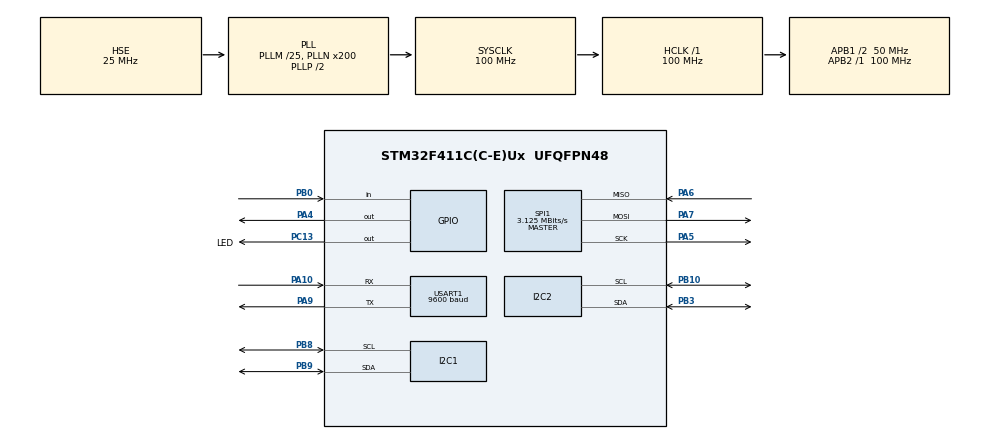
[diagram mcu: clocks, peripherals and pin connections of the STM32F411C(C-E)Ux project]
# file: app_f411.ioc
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Mcu.Family=STM32F4
Mcu.Name=STM32F411C(C-E)Ux
Mcu.Package=UFQFPN48
NVIC.PriorityGroup=NVIC_PRIORITYGROUP_4
NVIC.USART1_IRQn=true\:0\:0\:false\:false\:true\:true\:true\:true
PA10.Mode=Asynchronous
PA10.Signal=USART1_RX
PA13.Mode=Serial_Wire
PA13.Signal=SYS_JTMS-SWDIO
PA14.Mode=Serial_Wire
PA14.Signal=SYS_JTCK-SWCLK
PA4.PinState=GPIO_PIN_SET
PA4.Signal=GPIO_Output
PA5.Mode=Full_Duplex_Master
PA5.Signal=SPI1_SCK
PA6.Mode=Full_Duplex_Master
PA6.Signal=SPI1_MISO
PA7.Mode=Full_Duplex_Master
PA7.Signal=SPI1_MOSI
PA9.Mode=Asynchronous
PA9.Signal=USART1_TX
PB0.GPIO_PuPd=GPIO_PULLUP
PB0.Signal=GPIO_Input
PB10.Mode=I2C
PB10.Signal=I2C2_SCL
PB3.Mode=I2C
PB3.Signal=I2C2_SDA
PB8.Mode=I2C
PB8.Signal=I2C1_SCL
PB9.Mode=I2C
PB9.Signal=I2C1_SDA
PC13-ANTI_TAMP.GPIO_Label=LED
PC13-ANTI_TAMP.PinState=GPIO_PIN_SET
PC13-ANTI_TAMP.Signal=GPIO_Output
PH0\ -\ OSC_IN.Mode=HSE-External-Oscillator
PH0\ -\ OSC_IN.Signal=RCC_OSC_IN
PH1\ -\ OSC_OUT.Mode=HSE-External-Oscillator
PH1\ -\ OSC_OUT.Signal=RCC_OSC_OUT
ProjectManager.HeapSize=0x200
ProjectManager.StackSize=0x400
ProjectManager.TargetToolchain=MDK-ARM V5
RCC.48MHZClocksFreq_Value=50000000
RCC.AHBFreq_Value=100000000
RCC.APB1CLKDivider=RCC_HCLK_DIV2
RCC.APB1Freq_Value=50000000
RCC.APB1TimFreq_Value=100000000
RCC.APB2Freq_Value=100000000
RCC.APB2TimFreq_Value=100000000
RCC.CortexFreq_Value=100000000
RCC.HCLKFreq_Value=100000000
RCC.HSE_VALUE=25000000
RCC.HSI_VALUE=16000000
RCC.LSE_VALUE=32768
RCC.PLLM=25
RCC.PLLN=200
RCC.PLLSourceVirtual=RCC_PLLSOURCE_HSE
RCC.SYSCLKFreq_VALUE=100000000
RCC.SYSCLKSource=RCC_SYSCLKSOURCE_PLLCLK
RCC.VCOOutputFreq_Value=200000000
SPI1.BaudRatePrescaler=SPI_BAUDRATEPRESCALER_32
SPI1.CalculateBaudRate=3.125 MBits/s
SPI1.Direction=SPI_DIRECTION_2LINES
SPI1.Mode=SPI_MODE_MASTER
SPI1.VirtualType=VM_MASTER
USART1.BaudRate=9600
USART1.VirtualMode=VM_ASYNC
board=custom

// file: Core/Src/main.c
/* USER CODE BEGIN Header */
/**
  ******************************************************************************
  * @file           : main.c
  * @brief          : Main program body
  ******************************************************************************
  * @attention
  *
  * Copyright (c) 2026 STMicroelectronics.
  * All rights reserved.
  *
  * This software is licensed under terms that can be found in the LICENSE file
  * in the root directory of this software component.
  * If no LICENSE file comes with this software, it is provided AS-IS.
  *
  ******************************************************************************
  */
/* USER CODE END Header */
#include "main.h"
#include "i2c.h"
#include "spi.h"
#include "usart.h"
#include "gpio.h"

/* USER CODE BEGIN Includes */
#include "oled.h"
#include <string.h>
#include <stdio.h>

/* USER CODE END Includes */

/* USER CODE BEGIN PD */
#define TRIAL_MARK_ADDR 0x90U
#define TRIAL_PENDING   0x59U
#define TRIAL_CONFIRMED 0xA6U
#define APP_VERSION "1.0.8"

/* USER CODE END PD */

/* USER CODE BEGIN PV */
uint8_t app_rx_buf[10] = {0};            // 串口指令接收缓冲
volatile uint8_t need_reboot_to_ota = 0; // 收到 'U' 请求进入 Bootloader
volatile uint8_t need_report_version = 0;// 收到 'V' 请求查询版本
volatile uint8_t uart_error_pending = 0; // 串口异常待恢复标志
uint8_t app_version_msg[] = "APP_VERSION=" APP_VERSION "\r\n";
/* USER CODE END PV */

void SystemClock_Config(void);
/* USER CODE BEGIN PFP */
void App_TriggerOTA_Reboot(void);
/* USER CODE END PFP */

int main(void)
{

  /* USER CODE BEGIN 1 */
  SCB->VTOR = 0x08010000U; // 重映射中断向量表到 App 起始地址
  __DSB();
  __ISB();
  __enable_irq();
  /* USER CODE END 1 */

  /* MCU Configuration--------------------------------------------------------*/

  /* Reset of all peripherals, Initializes the Flash interface and the Systick. */
  HAL_Init();

  /* Configure the system clock */
  SystemClock_Config();

  /* Initialize all configured peripherals */
  MX_GPIO_Init();
  MX_I2C1_Init();
  MX_I2C2_Init();
  MX_SPI1_Init();
  MX_USART1_UART_Init();
  /* USER CODE BEGIN 2 */
  uint8_t trial_mark;
  if (HAL_I2C_Mem_Read(&hi2c2, 0xA0, TRIAL_MARK_ADDR, I2C_MEMADD_SIZE_8BIT, &trial_mark, 1, 100) != HAL_OK)
      Error_Handler();
  uint8_t startup_message_pending = (trial_mark != TRIAL_PENDING);
  if (HAL_UARTEx_ReceiveToIdle_IT(&huart1, app_rx_buf, sizeof(app_rx_buf)) != HAL_OK)
      uart_error_pending = 1;
  uint8_t oled_on = 1;
  GPIO_PinState key_last = GPIO_PIN_SET;
  uint8_t led_ticks = 0;
  /* USER CODE END 2 */

  /* Infinite loop */
  /* USER CODE BEGIN WHILE */
  while (1)
  {
    if (uart_error_pending)
    {
      uart_error_pending = 0;
      HAL_UART_AbortReceive(&huart1);
      __HAL_UART_CLEAR_OREFLAG(&huart1);

      if (HAL_UARTEx_ReceiveToIdle_IT(&huart1, app_rx_buf, sizeof(app_rx_buf)) != HAL_OK)
      {
        uart_error_pending = 1;
      }
    }

    if (startup_message_pending && !uart_error_pending)
    {
        HAL_UART_Transmit(&huart1, (uint8_t *)"Hello! I am App in 2nd Floor!\r\n", 31, 1000);
        OLED_Init();
        OLED_PrintASCIIString(0, 0, "App running", &afont16x8, OLED_COLOR_NORMAL);
        OLED_PrintASCIIString(0, 16, "V" APP_VERSION, &afont16x8, OLED_COLOR_NORMAL);
        OLED_ShowFrame();
        startup_message_pending = 0;
    }

    if (trial_mark == TRIAL_PENDING)
    {
        // 试运行自检通过后写入确认标记并复位转正
        HAL_GPIO_TogglePin(GPIOC, GPIO_PIN_13);
        HAL_Delay(500);
        uint8_t confirmed = TRIAL_CONFIRMED;
        if (uart_error_pending)
            continue;
        if (HAL_I2C_Mem_Write(&hi2c2, 0xA0, TRIAL_MARK_ADDR, I2C_MEMADD_SIZE_8BIT, &confirmed, 1, 100) != HAL_OK)
            Error_Handler();
        HAL_Delay(10);
        if (HAL_I2C_Mem_Read(&hi2c2, 0xA0, TRIAL_MARK_ADDR, I2C_MEMADD_SIZE_8BIT, &trial_mark, 1, 100) != HAL_OK ||
            trial_mark != TRIAL_CONFIRMED)
            Error_Handler();
        NVIC_SystemReset();
    }
    if (need_reboot_to_ota)
    {
      need_reboot_to_ota = 0;
      App_TriggerOTA_Reboot();
    }
    if (need_report_version)
    {
        need_report_version = 0;

        HAL_UART_Transmit(&huart1,app_version_msg,sizeof(app_version_msg) - 1U,1000);
    }

	GPIO_PinState key_now = HAL_GPIO_ReadPin(GPIOB, GPIO_PIN_0);
    if (!startup_message_pending && key_last == GPIO_PIN_SET && key_now == GPIO_PIN_RESET)
    {
      oled_on = !oled_on;
      if (oled_on)
        OLED_DisPlay_On();
      else
        OLED_DisPlay_Off();
    }
    key_last = key_now;

    led_ticks++;
    if (led_ticks >= 25U)
    {
      led_ticks = 0;
      HAL_GPIO_TogglePin(GPIOC, GPIO_PIN_13);
    }
    HAL_Delay(20);

    /* USER CODE END WHILE */

  }
}

void SystemClock_Config(void)
{
  RCC_OscInitTypeDef RCC_OscInitStruct = {0};
  RCC_ClkInitTypeDef RCC_ClkInitStruct = {0};

  /** Configure the main internal regulator output voltage
  */
  __HAL_RCC_PWR_CLK_ENABLE();
  __HAL_PWR_VOLTAGESCALING_CONFIG(PWR_REGULATOR_VOLTAGE_SCALE1);

  /** Initializes the RCC Oscillators according to the specified parameters
  * in the RCC_OscInitTypeDef structure.
  */
  RCC_OscInitStruct.OscillatorType = RCC_OSCILLATORTYPE_HSE;
  RCC_OscInitStruct.HSEState = RCC_HSE_ON;
  RCC_OscInitStruct.PLL.PLLState = RCC_PLL_ON;
  RCC_OscInitStruct.PLL.PLLSource = RCC_PLLSOURCE_HSE;
  RCC_OscInitStruct.PLL.PLLM = 25;
  RCC_OscInitStruct.PLL.PLLN = 200;
  RCC_OscInitStruct.PLL.PLLP = RCC_PLLP_DIV2;
  RCC_OscInitStruct.PLL.PLLQ = 4;
  if (HAL_RCC_OscConfig(&RCC_OscInitStruct) != HAL_OK)
  {
    Error_Handler();
  }

  /** Initializes the CPU, AHB and APB buses clocks
  */
  RCC_ClkInitStruct.ClockType = RCC_CLOCKTYPE_HCLK|RCC_CLOCKTYPE_SYSCLK
                              |RCC_CLOCKTYPE_PCLK1|RCC_CLOCKTYPE_PCLK2;
  RCC_ClkInitStruct.SYSCLKSource = RCC_SYSCLKSOURCE_PLLCLK;
  RCC_ClkInitStruct.AHBCLKDivider = RCC_SYSCLK_DIV1;
  RCC_ClkInitStruct.APB1CLKDivider = RCC_HCLK_DIV2;
  RCC_ClkInitStruct.APB2CLKDivider = RCC_HCLK_DIV1;

  if (HAL_RCC_ClockConfig(&RCC_ClkInitStruct, FLASH_LATENCY_3) != HAL_OK)
  {
    Error_Handler();
  }
}

/* USER CODE BEGIN 4 */
void App_TriggerOTA_Reboot(void)
{
    uint8_t flag[4] = {0xAA, 0x55, 0xAA, 0x55}; // 小端写入 0x55AA55AA
    uint8_t readback[4] = {0};

    if (HAL_I2C_Mem_Write(&hi2c2,0xA0,0x00,I2C_MEMADD_SIZE_8BIT,flag,sizeof(flag),100) != HAL_OK)
    {
        printf("OTA flag write failed\r\n");
        return;
    }

    uint32_t start = HAL_GetTick();
    while (HAL_I2C_IsDeviceReady(&hi2c2, 0xA0, 1, 2) != HAL_OK)
    {
        if ((uint32_t)(HAL_GetTick() - start) >= 20U)
        {
            printf("EEPROM not ready\r\n");
            return;
        }
        HAL_Delay(1);
    }

    for (uint16_t i = 0; i < sizeof(readback); i++)
    {
        if (HAL_I2C_Mem_Read(&hi2c2, 0xA0, i, I2C_MEMADD_SIZE_8BIT, &readback[i], 1, 100) != HAL_OK)
        {
            printf("OTA flag read failed\r\n");
            return;
        }
    }

    if (memcmp(flag, readback, sizeof(flag)) != 0)
    {
        printf("OTA flag verify failed\r\n");
        return;
    }

    NVIC_SystemReset();
}

void HAL_UARTEx_RxEventCallback(UART_HandleTypeDef *huart,uint16_t Size)
{
    if (huart->Instance == USART1)
    {
        if (Size == 1 && app_rx_buf[0] == 'U')
        {
            need_reboot_to_ota = 1;
        }
        else if (Size == 1 && app_rx_buf[0] == 'V')
        {
            need_report_version = 1;
        }

        if (HAL_UARTEx_ReceiveToIdle_IT(&huart1, app_rx_buf, sizeof(app_rx_buf)) != HAL_OK)
            uart_error_pending = 1;
    }
}

void HAL_UART_ErrorCallback(UART_HandleTypeDef *huart)
{
    if (huart->Instance == USART1)
    {
        uart_error_pending = 1;
    }
}
/* USER CODE END 4 */

void Error_Handler(void)
{
  __disable_irq();
  while (1)
  {
  }
}
